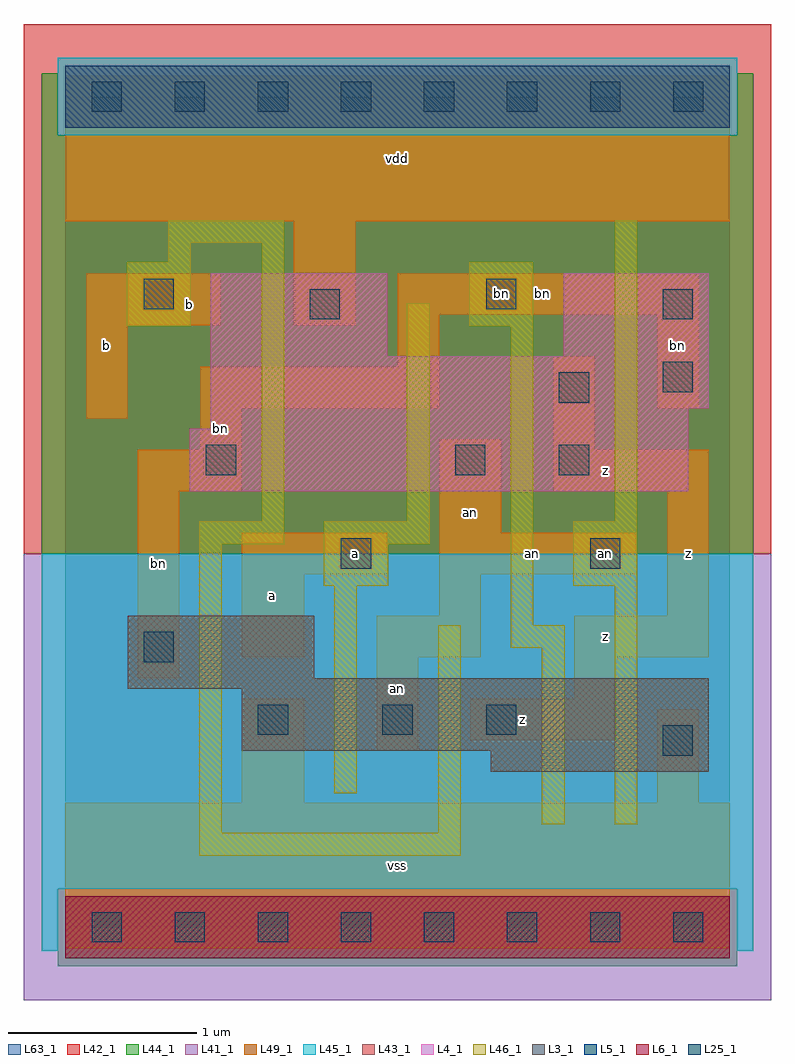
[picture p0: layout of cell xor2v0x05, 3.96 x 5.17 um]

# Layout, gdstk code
import gdstk
lib = gdstk.Library(unit=1e-6, precision=1e-09)
def R(c, l, rs):  # rectangles x0, y0, x1, y1
    for r in rs: c.add(gdstk.rectangle(r[:2], r[2:], *l))
def A(c, l, x, y, w, h, nx, ny, dx, dy):  # array of equal rectangles
    R(c, l, [(x+i*dx, y+j*dy, x+i*dx+w, y+j*dy+h) for i in range(nx) for j in range(ny)])
L3_1 = (3, 1)
L4_1 = (4, 1)
L5_1 = (5, 1)
L6_1 = (6, 1)
L25_1 = (25, 1)
L41_1 = (41, 1)
L42_1 = (42, 1)
L43_1 = (43, 1)
L44_1 = (44, 1)
L45_1 = (45, 1)
L46_1 = (46, 1)
L49_1 = (49, 1)
L63_1 = (63, 1)

xor2v0x05 = lib.new_cell('xor2v0x05')
R(xor2v0x05, L3_1, [(2.255,0.825,3.41,0.935), (0.935,0.935,3.41,1.265), (0.33,1.265,3.41,1.32), (0.33,1.32,1.32,1.65)])
R(xor2v0x05, L4_1, [(0.66,2.31,3.3,2.64), (0.77,2.64,3.3,2.75), (0.77,2.75,3.41,3.025), (0.77,3.025,1.705,3.465), (2.64,3.025,3.41,3.465)])
R(xor2v0x05, L5_1, [(0,4.235,3.52,4.565)])
R(xor2v0x05, L6_1, [(0,-0.165,3.52,0.165)])
A(xor2v0x05, L25_1, 0.14, -0.08, 0.16, 0.16, 8, 2, 0.44, 4.4)
R(xor2v0x05, L25_1, [(3.165,0.91,3.325,1.07), (1.02,1.02,1.18,1.18), (1.68,1.02,1.84,1.18), (2.23,1.02,2.39,1.18), (0.415,1.405,0.575,1.565), (1.46,1.9,1.62,2.06), (2.78,1.9,2.94,2.06), (0.745,2.395,0.905,2.555), (2.065,2.395,2.225,2.555), (2.615,2.395,2.775,2.555), (2.615,2.78,2.775,2.94), (3.165,2.835,3.325,2.995), (1.295,3.22,1.455,3.38), (3.165,3.22,3.325,3.38), (0.415,3.275,0.575,3.435), (2.23,3.275,2.39,3.435)])
R(xor2v0x05, L41_1, [(-0.22,-0.385,3.74,1.98)])
R(xor2v0x05, L42_1, [(-0.22,1.98,3.74,4.785)])
R(xor2v0x05, L43_1, [(0,-0.165,3.52,0.165), (2.255,0.825,3.41,0.935), (0.935,0.935,3.41,1.265), (0.33,1.265,3.41,1.32), (0.33,1.32,1.32,1.65), (0.66,2.31,3.3,2.64), (0.77,2.64,3.3,2.75), (0.77,2.75,3.41,3.025), (0.77,3.025,1.705,3.465), (2.64,3.025,3.41,3.465), (0,4.235,3.52,4.565)])
R(xor2v0x05, L44_1, [(-0.04,-0.205,3.56,0.205), (-0.125,1.98,3.645,4.195), (-0.125,4.195,-0.04,4.525), (3.56,4.195,3.645,4.525)])
R(xor2v0x05, L45_1, [(-0.125,-0.125,-0.04,0.205), (3.56,-0.125,3.645,0.205), (-0.125,0.205,3.645,1.98), (-0.04,4.195,3.56,4.605)])
R(xor2v0x05, L46_1, [(0.71,0.38,2.095,0.5), (0.71,0.5,0.83,2.03), (1.975,0.5,2.095,1.6), (2.525,0.545,2.645,1.48), (2.91,0.545,3.03,1.81), (1.425,0.71,1.545,1.81), (2.36,1.48,2.645,1.6), (2.36,1.6,2.48,3.185), (1.37,1.81,1.71,2.03), (2.69,1.81,3.03,2.15), (0.71,2.03,1.16,2.15), (1.37,2.03,1.93,2.15), (1.04,2.15,1.16,3.625), (1.81,2.15,1.93,3.305), (2.91,2.15,3.03,3.745), (0.325,3.185,0.665,3.525), (2.14,3.185,2.48,3.525), (0.545,3.525,0.665,3.625), (0.545,3.625,1.16,3.745)])
R(xor2v0x05, L49_1, [(0,-0.11,3.52,0.66), (0.935,0.66,1.265,1.21), (3.135,0.66,3.355,1.155), (1.65,0.935,1.87,1.43), (2.145,0.99,2.915,1.21), (2.695,1.21,2.915,1.43), (0.385,1.32,0.605,2.31), (0.935,1.43,1.265,1.87), (1.65,1.43,2.2,1.65), (2.695,1.43,3.41,1.65), (1.98,1.65,2.2,1.87), (3.19,1.65,3.41,2.31), (0.935,1.87,1.705,2.09), (1.98,1.87,3.025,2.09), (1.98,2.09,2.31,2.585), (0.385,2.31,0.935,2.53), (2.585,2.31,3.41,2.53), (0.715,2.53,0.935,2.75), (2.585,2.53,2.805,3.025), (0.11,2.695,0.33,3.19), (0.715,2.75,1.98,2.97), (3.135,2.75,3.355,3.245), (1.76,2.97,1.98,3.245), (0.11,3.19,0.825,3.465), (1.21,3.19,1.54,3.74), (1.76,3.245,3.355,3.465), (0,3.74,3.52,4.51)])
R(xor2v0x05, L63_1, [(0,0,3.52,4.4)])
xor2v0x05.add(gdstk.Label('an', (2.86,1.98), layer=49, texttype=1))
xor2v0x05.add(gdstk.Label('bn', (2.31,3.355), layer=49, texttype=1))
xor2v0x05.add(gdstk.Label('b', (0.22,3.08), layer=49, texttype=1))
xor2v0x05.add(gdstk.Label('a', (1.1,1.76), layer=49, texttype=1))
xor2v0x05.add(gdstk.Label('bn', (0.495,1.925), layer=49, texttype=1))
xor2v0x05.add(gdstk.Label('bn', (0.825,2.64), layer=49, texttype=1))
xor2v0x05.add(gdstk.Label('b', (0.66,3.3), layer=49, texttype=1))
xor2v0x05.add(gdstk.Label('vss', (1.76,0.33), layer=49, texttype=1))
xor2v0x05.add(gdstk.Label('an', (1.76,1.265), layer=49, texttype=1))
xor2v0x05.add(gdstk.Label('a', (1.54,1.98), layer=49, texttype=1))
xor2v0x05.add(gdstk.Label('vdd', (1.76,4.07), layer=49, texttype=1))
xor2v0x05.add(gdstk.Label('z', (2.42,1.1), layer=49, texttype=1))
xor2v0x05.add(gdstk.Label('an', (2.145,2.2), layer=49, texttype=1))
xor2v0x05.add(gdstk.Label('z', (2.86,1.54), layer=49, texttype=1))
xor2v0x05.add(gdstk.Label('z', (2.86,2.42), layer=49, texttype=1))
xor2v0x05.add(gdstk.Label('an', (2.475,1.98), layer=49, texttype=1))
xor2v0x05.add(gdstk.Label('z', (3.3,1.98), layer=49, texttype=1))
xor2v0x05.add(gdstk.Label('bn', (3.245,3.08), layer=49, texttype=1))
xor2v0x05.add(gdstk.Label('bn', (2.53,3.355), layer=49, texttype=1))

lib.write_gds('xor2v0x05.gds')
